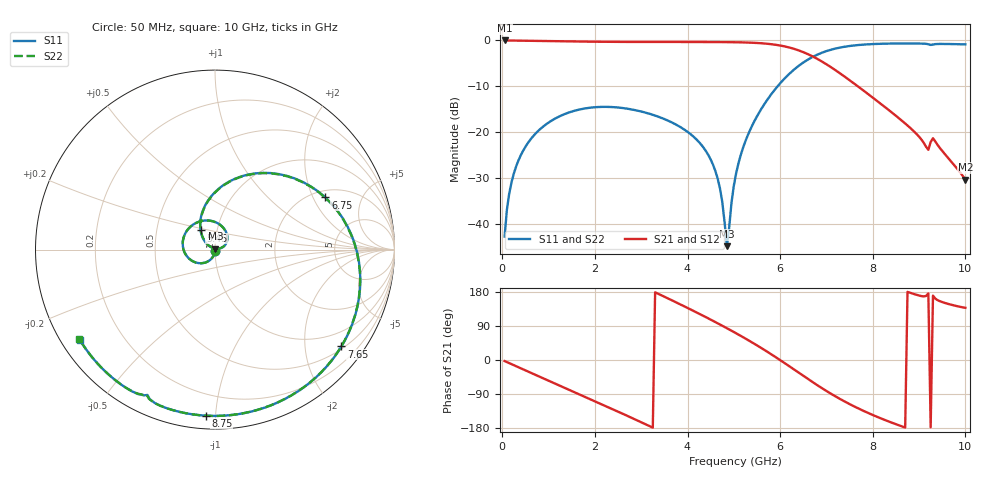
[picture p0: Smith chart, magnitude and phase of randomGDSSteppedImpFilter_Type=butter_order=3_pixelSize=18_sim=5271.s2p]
! freq	dB(S11)	phase(S11)	dB(S12)	phase(S12)
!  dB(S21)	phase(S21)	dB(S22)	phase(S22)
!S-par simulation data
#  GHz  S  DB  R 50
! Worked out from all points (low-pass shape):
!   200 points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, 50 MHz to 10 GHz, reference 50 ohm
!   highest |S21| = -0.01 dB at 50 MHz (marker M1); lowest = -30.3 dB at 10 GHz (marker M2)
!   |S21| within 3 dB of the highest: start of sweep to 6.603 GHz
!   lowest |S11| = -44.9 dB at 4.85 GHz (marker M3), VSWR 1.01, Z = 50.2 + j0.543 ohm
!   |S11| at or under -10 dB: start of sweep to 5.944 GHz
!   |S22| runs from -43.3 to -0.7 dB; largest |S21 - S12| = 0
!   S11 on the Smith chart (normalised r, x): 50 MHz: 1.00, -0.01; 5.45 GHz: 0.83, +0.18; 6.75 GHz: 2.31, +2.50; 7.65 GHz: 0.56, -2.85; 8.75 GHz: 0.07, -0.94; 10 GHz: 0.05, -0.30
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0.05  -42.75 -90.4  -0.01 -2.8  -0.01 -2.8  -42.75 -90.4
0.2  -30.89 -100.7  -0.02 -11.0  -0.02 -11.0  -30.89 -100.6
0.5  -23.18 -117.8  -0.06 -27.4  -0.06 -27.4  -23.18 -117.8
1.15  -16.98 -153.6  -0.16 -62.7  -0.16 -62.7  -16.98 -153.5
1.75  -14.89 173.7  -0.26 -95.2  -0.26 -95.2  -14.89 173.9
2.65  -14.80 124.2  -0.32 -144.6  -0.32 -144.6  -14.80 124.5
3.4  -16.74 82.0  -0.33 172.9  -0.33 172.9  -16.74 82.5
3.9  -19.23 53.1  -0.34 143.4  -0.34 143.4  -19.22 53.7
4.5  -25.96 19.3  -0.35 106.5  -0.35 106.5  -25.94 20.6
4.7  -32.23 13.0  -0.36 93.7  -0.36 93.7  -32.14 15.7
4.85  -44.85 71.1  -0.37 83.9  -0.37 83.9  -43.31 72.8
5.05  -28.94 148.6  -0.40 70.5  -0.40 70.5  -28.89 146.7
5.45  -17.47 127.0  -0.53 42.3  -0.53 42.3  -17.47 126.4
6.05  -8.79 82.4  -1.20 -4.3  -1.20 -4.3  -8.79 82.0
6.7  -3.60 29.3  -3.48 -58.3  -3.48 -58.3  -3.60 29.0
6.75  -3.35 25.3  -3.74 -62.3  -3.74 -62.3  -3.35 25.0
7.2  -1.76 -8.4  -6.53 -96.4  -6.53 -96.4  -1.76 -8.7
7.65  -1.04 -37.5  -9.80 -125.5  -9.80 -125.5  -1.04 -37.8
8.35  -0.69 -74.7  -15.21 -162.5  -15.21 -162.5  -0.69 -75.0
8.75  -0.66 -93.3  -18.54 179.7  -18.54 179.7  -0.66 -93.6
9.3  -0.88 -116.0  -21.32 169.9  -21.32 169.9  -0.89 -116.3
10  -0.86 -146.3  -30.32 137.6  -30.32 137.6  -0.86 -146.7
